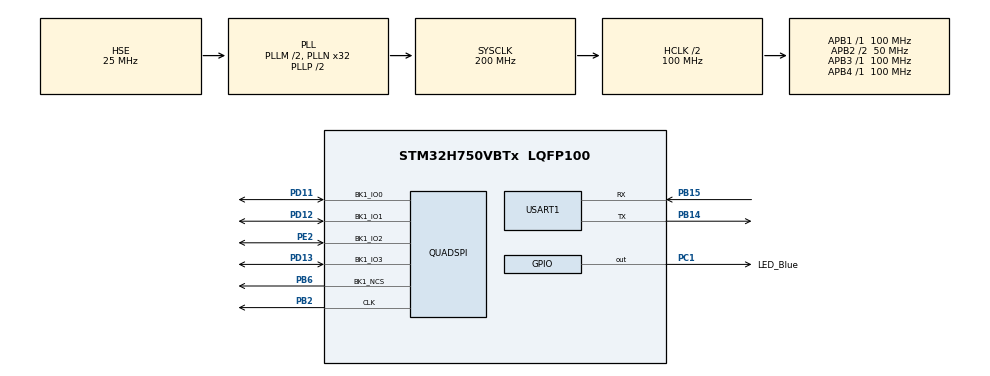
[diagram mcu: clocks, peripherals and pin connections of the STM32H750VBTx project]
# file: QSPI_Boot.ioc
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CORTEX_M7.default_mode_Activation=1
Mcu.Family=STM32H7
Mcu.Name=STM32H750VBTx
Mcu.Package=LQFP100
NVIC.PriorityGroup=NVIC_PRIORITYGROUP_4
NVIC.QUADSPI_IRQn=true\:0\:0\:false\:false\:true\:true\:true\:true
PA13\ (JTMS/SWDIO).Mode=Serial_Wire
PA13\ (JTMS/SWDIO).Signal=DEBUG_JTMS-SWDIO
PA14\ (JTCK/SWCLK).Mode=Serial_Wire
PA14\ (JTCK/SWCLK).Signal=DEBUG_JTCK-SWCLK
PB14.Mode=Asynchronous
PB14.Signal=USART1_TX
PB15.Mode=Asynchronous
PB15.Signal=USART1_RX
PB2.GPIO_PuPd=GPIO_PULLUP
PB2.GPIO_Speed=GPIO_SPEED_FREQ_VERY_HIGH
PB2.Mode=Single Bank 1
PB2.Signal=QUADSPI_CLK
PB6.GPIO_PuPd=GPIO_PULLUP
PB6.GPIO_Speed=GPIO_SPEED_FREQ_VERY_HIGH
PB6.Mode=Single Bank 1
PB6.Signal=QUADSPI_BK1_NCS
PC1.GPIO_Label=LED_Blue
PC1.Signal=GPIO_Output
PC14-OSC32_IN\ (OSC32_IN).Mode=LSE-External-Oscillator
PC14-OSC32_IN\ (OSC32_IN).Signal=RCC_OSC32_IN
PC15-OSC32_OUT\ (OSC32_OUT).Mode=LSE-External-Oscillator
PC15-OSC32_OUT\ (OSC32_OUT).Signal=RCC_OSC32_OUT
PD11.GPIO_Speed=GPIO_SPEED_FREQ_VERY_HIGH
PD11.Mode=Single Bank 1
PD11.Signal=QUADSPI_BK1_IO0
PD12.GPIO_Speed=GPIO_SPEED_FREQ_VERY_HIGH
PD12.Mode=Single Bank 1
PD12.Signal=QUADSPI_BK1_IO1
PD13.GPIO_Speed=GPIO_SPEED_FREQ_VERY_HIGH
PD13.Mode=Single Bank 1
PD13.Signal=QUADSPI_BK1_IO3
PE2.GPIO_Speed=GPIO_SPEED_FREQ_VERY_HIGH
PE2.Mode=Single Bank 1
PE2.Signal=QUADSPI_BK1_IO2
PH0-OSC_IN\ (PH0).Mode=HSE-External-Oscillator
PH0-OSC_IN\ (PH0).Signal=RCC_OSC_IN
PH1-OSC_OUT\ (PH1).Mode=HSE-External-Oscillator
PH1-OSC_OUT\ (PH1).Signal=RCC_OSC_OUT
ProjectManager.HeapSize=0x200
ProjectManager.StackSize=0x400
ProjectManager.TargetToolchain=SW4STM32
QUADSPI.ChipSelectHighTime=QSPI_CS_HIGH_TIME_2_CYCLE
QUADSPI.ClockPrescaler=1
QUADSPI.FlashSize=22
RCC.ADCFreq_Value=50390625
RCC.APB1Freq_Value=100000000
RCC.APB2Freq_Value=50000000
RCC.APB3Freq_Value=100000000
RCC.APB4Freq_Value=100000000
RCC.CortexFreq_Value=200000000
RCC.D2PPRE2=RCC_APB2_DIV2
RCC.DIVM1=2
RCC.DIVN1=32
RCC.HCLKFreq_Value=100000000
RCC.HPRE=RCC_HCLK_DIV2
RCC.PLLFRACN=0
RCC.PLLSourceVirtual=RCC_PLLSOURCE_HSE
RCC.SYSCLKFreq_VALUE=200000000
RCC.SYSCLKSource=RCC_SYSCLKSOURCE_PLLCLK
RCC.USBFreq_Value=200000000
USART1.VirtualMode-Asynchronous=VM_ASYNC
board=custom

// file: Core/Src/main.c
/* USER CODE BEGIN Header */
/**
  ******************************************************************************
  * @file           : main.c
  * @brief          : Main program body
  ******************************************************************************
  * @attention
  *
  * Copyright (c) 2022 STMicroelectronics.
  * All rights reserved.
  *
  * This software is licensed under terms that can be found in the LICENSE file
  * in the root directory of this software component.
  * If no LICENSE file comes with this software, it is provided AS-IS.
  *
  ******************************************************************************
  */
/* USER CODE END Header */
#include "main.h"
#include "quadspi.h"
#include "usart.h"
#include "gpio.h"

/* USER CODE BEGIN Includes */
#include "stdio.h"

#ifdef __GNUC__
#define PUTCHAR_PROTOTYPE int __io_putchar(int ch)
#else
#define PUTCHAR_PROTOTYPE int fputc(int ch. FILE *f)
#endif /* __GNUC__ */

//重定向printf函数
PUTCHAR_PROTOTYPE
{
    HAL_UART_Transmit(&huart1,(uint8_t *)&ch,1,0xFFFF);//输出指向串口USART1
    return ch;
}

/* USER CODE END Includes */

void SystemClock_Config(void);

static void MPU_Config(void);

/* USER CODE BEGIN 0 */
typedef void (*pFunction)(void);

pFunction JumpToApplication;
/* USER CODE END 0 */

int main(void) {

    /* MPU Configuration--------------------------------------------------------*/
    MPU_Config();

    /* MCU Configuration--------------------------------------------------------*/

    /* Reset of all peripherals, Initializes the Flash interface and the Systick. */
    HAL_Init();

    /* Configure the system clock */
    SystemClock_Config();

    /* Initialize all configured peripherals */
    MX_GPIO_Init();
    MX_QUADSPI_Init();
    MX_USART1_UART_Init();
    /* USER CODE BEGIN 2 */
    QSPI_W25Qxx_Init();

    /* USER CODE END 2 */

    /* Infinite loop */
    while (1) {

        /* USER CODE BEGIN 3 */
        if (HAL_GPIO_ReadPin(GPIOC,GPIO_PIN_13)==GPIO_PIN_RESET){     //检测按键是否按下，若按下，则跳转启动flash的程序

            QSPI_W25Qxx_MemoryMappedMode();

//            HAL_Delay(5000);
            HAL_MPU_Disable();

            SysTick->CTRL = 0;        // 关闭SysTick
            SysTick->LOAD = 0;        // 清零重载值
            SysTick->VAL = 0;            // 清零计数值

            JumpToApplication = (pFunction) (*(__IO uint32_t *) (W25Qxx_Mem_Addr + 4));    // 设置起始地址
            __set_MSP(*(__IO uint32_t *) W25Qxx_Mem_Addr);    // 设置主堆栈指针

            JumpToApplication();            // 执行跳转

        }
    }
    /* USER CODE END 3 */
}

void SystemClock_Config(void) {
    RCC_OscInitTypeDef RCC_OscInitStruct = {0};
    RCC_ClkInitTypeDef RCC_ClkInitStruct = {0};

    /** Supply configuration update enable
    */
    HAL_PWREx_ConfigSupply(PWR_LDO_SUPPLY);

    /** Configure the main internal regulator output voltage
    */
    __HAL_PWR_VOLTAGESCALING_CONFIG(PWR_REGULATOR_VOLTAGE_SCALE3);

    while (!__HAL_PWR_GET_FLAG(PWR_FLAG_VOSRDY)) {}

    /** Initializes the RCC Oscillators according to the specified parameters
    * in the RCC_OscInitTypeDef structure.
    */
    RCC_OscInitStruct.OscillatorType = RCC_OSCILLATORTYPE_HSE;
    RCC_OscInitStruct.HSEState = RCC_HSE_ON;
    RCC_OscInitStruct.PLL.PLLState = RCC_PLL_ON;
    RCC_OscInitStruct.PLL.PLLSource = RCC_PLLSOURCE_HSE;
    RCC_OscInitStruct.PLL.PLLM = 2;
    RCC_OscInitStruct.PLL.PLLN = 32;
    RCC_OscInitStruct.PLL.PLLP = 2;
    RCC_OscInitStruct.PLL.PLLQ = 2;
    RCC_OscInitStruct.PLL.PLLR = 2;
    RCC_OscInitStruct.PLL.PLLRGE = RCC_PLL1VCIRANGE_3;
    RCC_OscInitStruct.PLL.PLLVCOSEL = RCC_PLL1VCOWIDE;
    RCC_OscInitStruct.PLL.PLLFRACN = 0;
    if (HAL_RCC_OscConfig(&RCC_OscInitStruct) != HAL_OK) {
        Error_Handler();
    }

    /** Initializes the CPU, AHB and APB buses clocks
    */
    RCC_ClkInitStruct.ClockType = RCC_CLOCKTYPE_HCLK | RCC_CLOCKTYPE_SYSCLK
                                  | RCC_CLOCKTYPE_PCLK1 | RCC_CLOCKTYPE_PCLK2
                                  | RCC_CLOCKTYPE_D3PCLK1 | RCC_CLOCKTYPE_D1PCLK1;
    RCC_ClkInitStruct.SYSCLKSource = RCC_SYSCLKSOURCE_PLLCLK;
    RCC_ClkInitStruct.SYSCLKDivider = RCC_SYSCLK_DIV1;
    RCC_ClkInitStruct.AHBCLKDivider = RCC_HCLK_DIV2;
    RCC_ClkInitStruct.APB3CLKDivider = RCC_APB3_DIV1;
    RCC_ClkInitStruct.APB1CLKDivider = RCC_APB1_DIV1;
    RCC_ClkInitStruct.APB2CLKDivider = RCC_APB2_DIV2;
    RCC_ClkInitStruct.APB4CLKDivider = RCC_APB4_DIV1;

    if (HAL_RCC_ClockConfig(&RCC_ClkInitStruct, FLASH_LATENCY_2) != HAL_OK) {
        Error_Handler();
    }
}

/* MPU Configuration */

void MPU_Config(void) {
    MPU_Region_InitTypeDef MPU_InitStruct = {0};

    /* Disables the MPU */
    HAL_MPU_Disable();

    /** Initializes and configures the Region and the memory to be protected
    */
    MPU_InitStruct.Enable = MPU_REGION_ENABLE;
    MPU_InitStruct.Number = MPU_REGION_NUMBER0;
    MPU_InitStruct.BaseAddress = 0x0;
    MPU_InitStruct.Size = MPU_REGION_SIZE_4GB;
    MPU_InitStruct.SubRegionDisable = 0x87;
    MPU_InitStruct.TypeExtField = MPU_TEX_LEVEL0;
    MPU_InitStruct.AccessPermission = MPU_REGION_NO_ACCESS;
    MPU_InitStruct.DisableExec = MPU_INSTRUCTION_ACCESS_DISABLE;
    MPU_InitStruct.IsShareable = MPU_ACCESS_SHAREABLE;
    MPU_InitStruct.IsCacheable = MPU_ACCESS_NOT_CACHEABLE;
    MPU_InitStruct.IsBufferable = MPU_ACCESS_NOT_BUFFERABLE;

    HAL_MPU_ConfigRegion(&MPU_InitStruct);
    /* Enables the MPU */
    HAL_MPU_Enable(MPU_PRIVILEGED_DEFAULT);

}

void Error_Handler(void) {
    __disable_irq();
    while (1) {
    }
}
